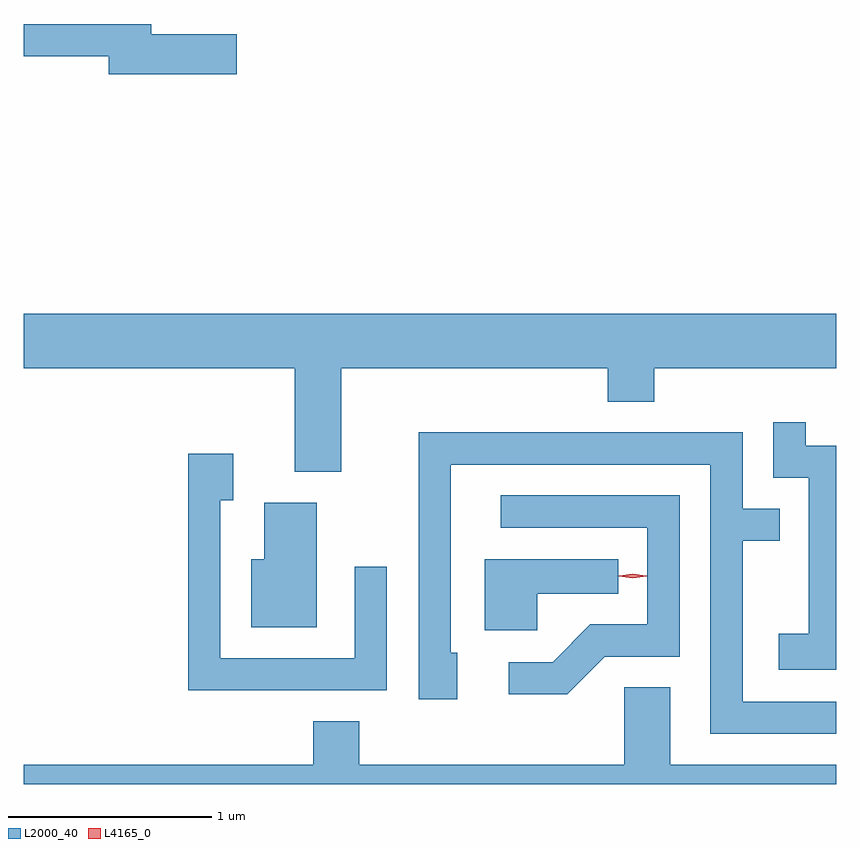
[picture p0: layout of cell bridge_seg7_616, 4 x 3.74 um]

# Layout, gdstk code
import gdstk
lib = gdstk.Library(unit=1e-6, precision=1e-09)
def P(c, l, *ps):  # polygons
    for p in ps: c.add(gdstk.Polygon(p, *l))
L2000_40 = (2000, 40)
L4165_0 = (4165, 0)

bridge_seg7_616 = lib.new_cell('bridge_seg7_616')
P(bridge_seg7_616, L2000_40, [(800.864,1698.199),(800.444,1698.199),(800.444,1698.249),(799.816,1698.249),(799.816,1698.091),(800.236,1698.091),(800.236,1698.001),(800.864,1698.001)],
  [(801.379,1696.556),(802.691,1696.556),(802.691,1696.391),(802.919,1696.391),(802.919,1696.556),(803.816,1696.556),(803.816,1696.824),(799.816,1696.824),(799.816,1696.556),(801.151,1696.556),(801.151,1696.046),(801.379,1696.046)],
  [(803.816,1696.174),(803.664,1696.174),(803.664,1696.288),(803.506,1696.288),(803.506,1696.016),(803.681,1696.016),(803.681,1695.249),(803.531,1695.249),(803.531,1695.071),(803.816,1695.071)],
  [(803.816,1694.914),(803.354,1694.914),(803.354,1695.706),(803.538,1695.706),(803.538,1695.864),(803.354,1695.864),(803.354,1696.239),(801.761,1696.239),(801.761,1694.926),(801.949,1694.926),(801.949,1695.154),(801.919,1695.154),(801.919,1696.081),(803.196,1696.081),(803.196,1694.756),(803.816,1694.756)],
  [(801.604,1695.578),(801.446,1695.578),(801.446,1695.129),(800.784,1695.129),(800.784,1695.906),(800.849,1695.906),(800.849,1696.134),(800.626,1696.134),(800.626,1694.971),(801.604,1694.971)],
  [(802.677,1695.136),(803.044,1695.136),(803.044,1695.929),(802.163,1695.929),(802.163,1695.771),(802.886,1695.771),(802.886,1695.294),(802.604,1695.294),(802.419,1695.109),(802.203,1695.109),(802.203,1694.951),(802.492,1694.951)],
  [(801.259,1695.894),(801.001,1695.894),(801.001,1695.614),(800.936,1695.614),(800.936,1695.281),(801.259,1695.281)],
  [(802.344,1695.446),(802.743,1695.446),(802.743,1695.614),(802.086,1695.614),(802.086,1695.266),(802.344,1695.266)],
  [(803.816,1694.604),(802.999,1694.604),(802.999,1694.984),(802.771,1694.984),(802.771,1694.604),(801.469,1694.604),(801.469,1694.819),(801.241,1694.819),(801.241,1694.604),(799.816,1694.604),(799.816,1694.509),(803.816,1694.509)])
P(bridge_seg7_616, L4165_0, [(802.814,1695.522),(802.745,1695.532),(802.744,1695.532),(802.745,1695.533),(802.814,1695.542),(802.883,1695.533),(802.883,1695.532),(802.883,1695.532)],
  [(802.814,1695.524),(802.748,1695.533),(802.747,1695.534),(802.748,1695.534),(802.814,1695.544),(802.88,1695.534),(802.881,1695.534),(802.88,1695.533)])

lib.write_gds('bridge_seg7_616.gds')
